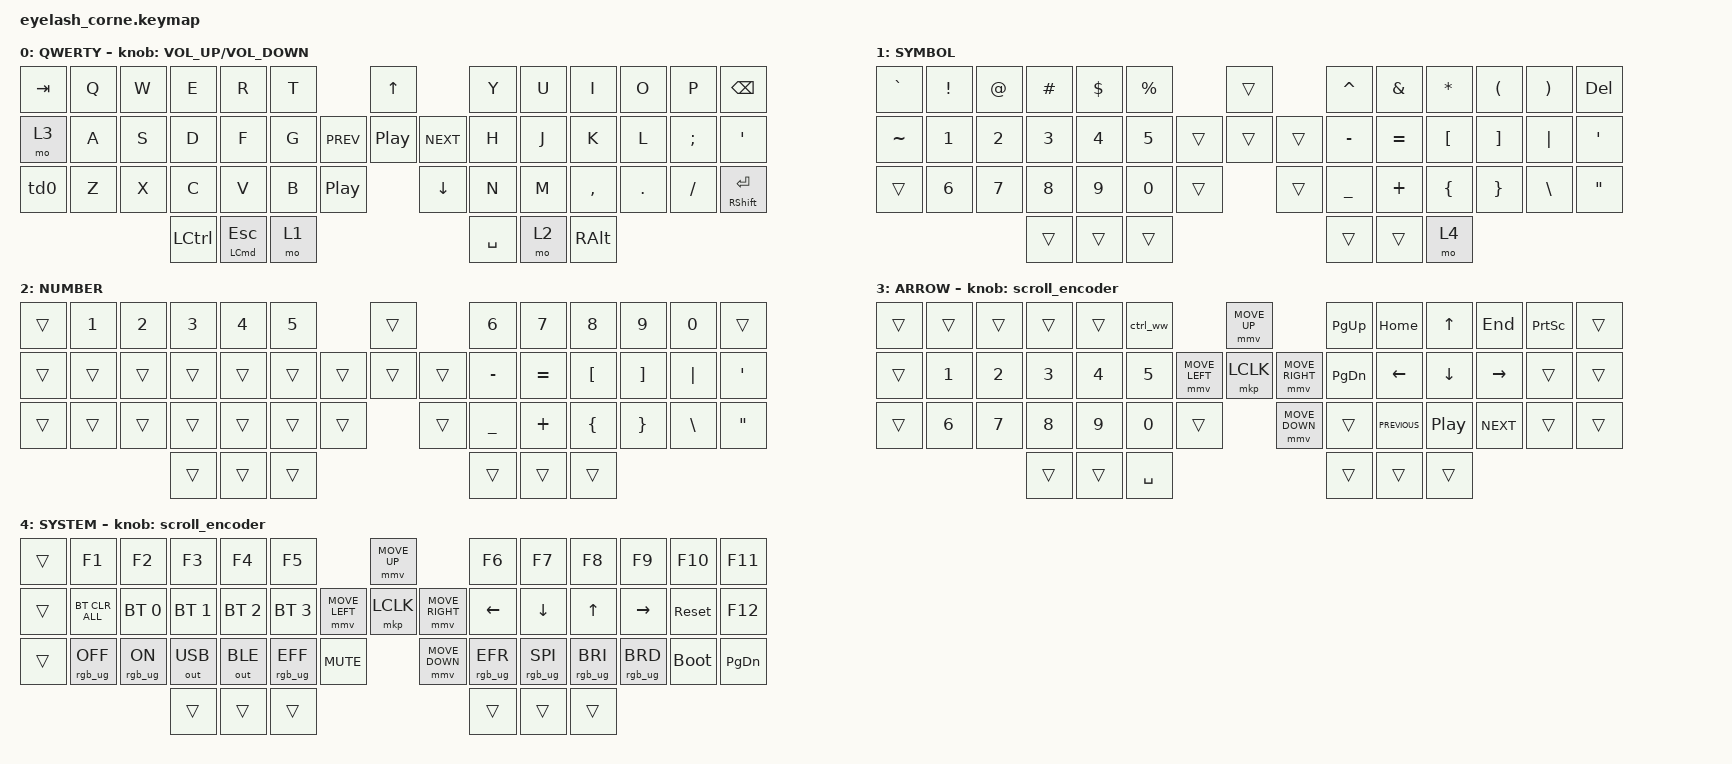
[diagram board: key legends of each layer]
#define ZMK_POINTING_DEFAULT_MOVE_VAL 1200  // 600
#define ZMK_POINTING_DEFAULT_SCRL_VAL 25   // 10

#include <input/processors.dtsi>
#include <zephyr/dt-bindings/input/input-event-codes.h>
#include <behaviors.dtsi>
#include <dt-bindings/zmk/bt.h>
#include <dt-bindings/zmk/keys.h>
#include <dt-bindings/zmk/outputs.h>
#include <dt-bindings/zmk/pointing.h>
#include <dt-bindings/zmk/rgb.h>

&mmv_input_listener { input-processors = <&zip_xy_scaler 2 1>; };

&msc_input_listener { input-processors = <&zip_scroll_scaler 2 1>; };

&msc {
    acceleration-exponent = <1>;      // 0
    time-to-max-speed-ms = <100>;       // 300
    delay-ms = <0>;                   // 0
};

&mmv {
    time-to-max-speed-ms = <500>;
    acceleration-exponent = <1>;
    trigger-period-ms = <16>;
};

/ {
    behaviors {
        td0: td0 {
            compatible = "zmk,behavior-tap-dance";
            display-name = "Shift/Caps Lock Tap Dance";
            #binding-cells = <0>;
            bindings = <&kp LEFT_SHIFT>, <&kp CAPS>;
        };

        layer_tilde: layer_tilde {
            compatible = "zmk,behavior-mod-morph";
            label = "LAYER_TILDE";
            bindings = <&mo 3>, <&kp TILDE>;

            #binding-cells = <0>;
            mods = <(MOD_LGUI)>;
            keep-mods = <(MOD_LGUI)>;
        };
    };

    rgb_encoder: rgb_encoder {
        compatible = "zmk,behavior-sensor-rotate";
        #sensor-binding-cells = <0>;
        bindings = <&rgb_ug RGB_BRI>, <&rgb_ug RGB_BRD>;
    };

    scroll_encoder: scroll_encoder {
        compatible = "zmk,behavior-sensor-rotate";
        #sensor-binding-cells = <0>;
        bindings = <&msc SCRL_DOWN>, <&msc SCRL_UP>;

        tap-ms = <100>;
    };

    macros {
        ctrl_ww: ctrl_ww {
            compatible = "zmk,behavior-macro";
            #binding-cells = <0>;
            bindings = <&kp LC(W) &kp W>;
            label = "CTRL_WW";
        };
    };

    keymap {
        compatible = "zmk,keymap";

        default_layer {
            display-name = "QWERTY";
            bindings = <
&kp TAB  &kp Q  &kp W  &kp E      &kp R         &kp T                          &kp UP                &kp Y      &kp U  &kp I      &kp O    &kp P     &kp BSPC
&mo 3    &kp A  &kp S  &kp D      &kp F         &kp G              &kp C_PREV  &kp C_PP  &kp C_NEXT  &kp H      &kp J  &kp K      &kp L    &kp SEMI  &kp SINGLE_QUOTE
&td0     &kp Z  &kp X  &kp C      &kp V         &kp B  &kp C_PP                &kp DOWN              &kp N      &kp M  &kp COMMA  &kp DOT  &kp FSLH  &mt RSHFT ENTER
                       &kp LCTRL  &mt LCMD ESC  &mo 1                                                &kp SPACE  &mo 2  &kp RALT
            >;

            sensor-bindings = <&inc_dec_kp C_VOLUME_UP C_VOLUME_DOWN>;
        };

        lower_layer {
            bindings = <
&kp GRAVE  &kp EXCL      &kp AT_SIGN   &kp HASH  &kp DOLLAR  &kp PERCENT                    &trans          &kp CARET       &kp AMPERSAND  &kp ASTERISK      &kp LEFT_PARENTHESIS  &kp RIGHT_PARENTHESIS  &kp DEL
&kp TILDE  &kp NUMBER_1  &kp NUMBER_2  &kp N3    &kp N4      &kp N5                 &trans  &trans  &trans  &kp MINUS       &kp EQUAL      &kp LEFT_BRACKET  &kp RIGHT_BRACKET     &kp PIPE               &kp SINGLE_QUOTE
&trans     &kp N6        &kp N7        &kp N8    &kp N9      &kp N0       &trans            &trans          &kp UNDERSCORE  &kp PLUS       &kp LEFT_BRACE    &kp RIGHT_BRACE       &kp BACKSLASH          &kp DOUBLE_QUOTES
                                       &trans    &trans      &trans                                         &trans          &trans         &mo 4
            >;

            label = "SYMBOL";
        };

        raise_layer {
            bindings = <
&trans  &kp N1  &kp N2  &kp N3  &kp N4  &kp N5                    &trans          &kp N6     &kp N7     &kp N8            &kp N9             &kp N0         &trans
&trans  &trans  &trans  &trans  &trans  &trans            &trans  &trans  &trans  &kp MINUS  &kp EQUAL  &kp LEFT_BRACKET  &kp RIGHT_BRACKET  &kp PIPE       &kp SINGLE_QUOTE
&trans  &trans  &trans  &trans  &trans  &trans  &trans            &trans          &kp UNDER  &kp PLUS   &kp LEFT_BRACE    &kp RIGHT_BRACE    &kp BACKSLASH  &kp DOUBLE_QUOTES
                        &trans  &trans  &trans                                    &trans     &trans     &trans
            >;

            label = "NUMBER";
        };

        arrow_layer {
            display-name = "ARROW";
            bindings = <
&trans  &trans  &trans  &trans  &trans  &ctrl_ww                             &mmv MOVE_UP                     &kp PAGE_UP    &kp HOME        &kp UP    &kp END     &kp PRINTSCREEN  &trans
&trans  &kp N1  &kp N2  &kp N3  &kp N4  &kp N5               &mmv MOVE_LEFT  &mkp LCLK       &mmv MOVE_RIGHT  &kp PAGE_DOWN  &kp LEFT        &kp DOWN  &kp RIGHT   &trans           &trans
&trans  &kp N6  &kp N7  &kp N8  &kp N9  &kp N0     &trans                    &mmv MOVE_DOWN                   &trans         &kp C_PREVIOUS  &kp C_PP  &kp C_NEXT  &trans           &trans
                        &trans  &trans  &kp SPACE                                                             &trans         &trans          &trans
            >;

            sensor-bindings = <&scroll_encoder>;
        };

        system_layer {
            display-name = "SYSTEM";
            bindings = <
&trans  &kp F1           &kp F2          &kp F3        &kp F4        &kp F5                                         &mmv MOVE_UP                     &kp F6           &kp F7           &kp F8           &kp F9           &kp F10      &kp F11
&trans  &bt BT_CLR_ALL   &bt BT_SEL 0    &bt BT_SEL 1  &bt BT_SEL 2  &bt BT_SEL 3                   &mmv MOVE_LEFT  &mkp LCLK       &mmv MOVE_RIGHT  &kp LEFT         &kp DOWN         &kp UP           &kp RIGHT        &sys_reset   &kp F12
&trans  &rgb_ug RGB_OFF  &rgb_ug RGB_ON  &out OUT_USB  &out OUT_BLE  &rgb_ug RGB_EFF  &kp C_MUTE                    &mmv MOVE_DOWN                   &rgb_ug RGB_EFR  &rgb_ug RGB_SPI  &rgb_ug RGB_BRI  &rgb_ug RGB_BRD  &bootloader  &kp PG_DN
                                         &trans        &trans        &trans                                                                          &trans           &trans           &trans
            >;

            sensor-bindings = <&scroll_encoder>;
        };
    };
};
